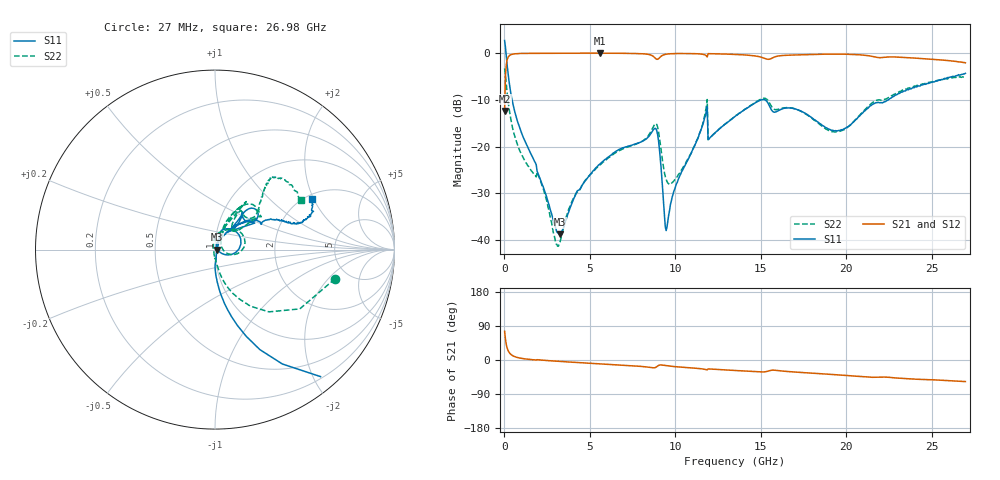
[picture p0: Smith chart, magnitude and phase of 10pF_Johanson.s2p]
#  HZ  S  MA  R  50.00
! Rohde & Schwarz ZVA67 4Ports - Version 4.11 - 1305.7002k04 SN: 101051
! Date: 2023-05-24 10:35:20
! Measurements: S11 S21 S12 S22
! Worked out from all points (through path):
!   540 points, 27 MHz to 26.98 GHz, reference 50 ohm
!   highest |S21| = 0.01 dB at 5.577 GHz (marker M1); lowest = -12.4 dB at 27 MHz (marker M2)
!   group delay of S21, straight-line fit = 6.49 ps
!   lowest |S11| = -38.8 dB at 3.277 GHz (marker M3), VSWR 1.02, Z = 51.2 + j0.0144 ohm
!   |S11| at or under -10 dB: 464 MHz to 15.04 GHz (14.58 GHz wide, 188 % of centre); 15.25 GHz to 22.47 GHz (7.218 GHz wide, 38.3 % of centre)
!   |S22| runs from -41.3 to -3.3 dB; largest |S21 - S12| = 0.064
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2.7e7  1.369 -14.9  0.2399 75.6  0.2407 75.4  0.6879 -13.7
2.27e8  0.6107 -65.8  0.9018 25.2  0.901 25.2  0.3067 -63.8
4.77e8  0.3079 -79.9  0.9741 12.0  0.9731 11.9  0.1629 -76.3
2.027e9  0.04878 -82.5  0.9965 0.4  0.9952 0.0  0.04749 -91.3
3.027e9  0.01321 -35.5  0.9986 -3.1  0.9982 -3.6  0.009091 -148.2
3.277e9  0.01147 0.7  0.9972 -3.9  0.9981 -4.3  0.0096 162.1
4.527e9  0.03726 61.0  1.001 -7.1  0.9991 -7.9  0.03784 104.4
5.577e9  0.06444 69.0  1.002 -10.0  0.9998 -10.8  0.0632 91.6
8.777e9  0.1548 39.0  0.9071 -20.5  0.9056 -21.9  0.1698 36.6
9.027e9  0.1164 -8.1  0.8718 -14.4  0.8695 -15.8  0.1455 -3.7
9.377e9  0.01811 -13.4  0.9661 -14.3  0.9634 -15.7  0.05205 -10.0
9.527e9  0.01388 47.5  0.9787 -15.3  0.9759 -16.8  0.04215 5.4
1.0677e10  0.06832 64.5  0.9919 -19.9  0.9883 -21.6  0.07026 59.2
1.1777e10  0.214 43.7  0.9528 -24.9  0.9491 -26.7  0.2382 62.2
1.2027e10  0.1235 54.2  0.9866 -23.7  0.9847 -25.7  0.124 69.5
1.3527e10  0.2117 51.9  0.9697 -27.7  0.9647 -29.7  0.2125 64.6
1.5177e10  0.3193 43.2  0.8882 -31.5  0.8865 -33.7  0.3285 48.6
1.8027e10  0.2018 48.7  0.9703 -34.8  0.9695 -37.5  0.1991 57.7
1.9627e10  0.1485 48.4  0.9771 -39.7  0.9773 -42.6  0.1457 44.7
2.2527e10  0.3232 30.3  0.9117 -45.8  0.9094 -49.6  0.3373 43.6
2.5427e10  0.5142 18.0  0.8501 -53.1  0.8459 -56.9  0.5146 51.5
2.6977e10  0.6091 27.5  0.7886 -56.9  0.7852 -61.0  0.5509 29.8
